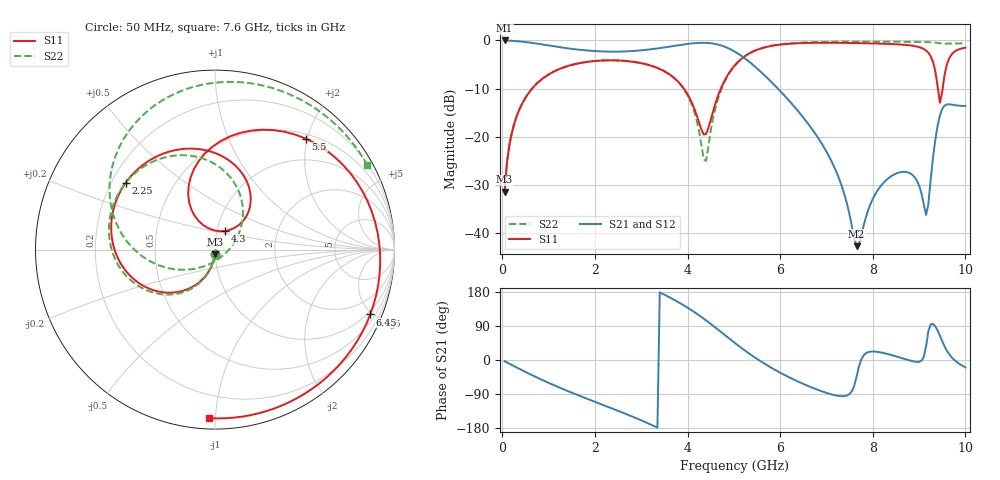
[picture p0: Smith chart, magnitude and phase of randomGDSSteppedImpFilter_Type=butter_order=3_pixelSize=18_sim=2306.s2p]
! freq	dB(S11)	phase(S11)	dB(S12)	phase(S12)
!  dB(S21)	phase(S21)	dB(S22)	phase(S22)
!S-par simulation data
#  GHz  S  DB  R 50
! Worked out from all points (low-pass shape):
!   200 points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, 50 MHz to 10 GHz, reference 50 ohm
!   highest |S21| = -0.01 dB at 50 MHz (marker M1); lowest = -42.6 dB at 7.65 GHz (marker M2)
!   |S21| within 3 dB of the highest: start of sweep to 5.133 GHz
!   lowest |S11| = -31.3 dB at 50 MHz (marker M3), VSWR 1.06, Z = 49.8 - j2.7 ohm
!   |S11| at or under -10 dB: start of sweep to 642.7 MHz; 3.922 GHz to 4.719 GHz (796.4 MHz wide, 18.4 % of centre); 9.407 GHz to 9.509 GHz (101.9 MHz wide, 1.08 % of centre)
!   |S22| runs from -31.3 to -0.3 dB; largest |S21 - S12| = 0
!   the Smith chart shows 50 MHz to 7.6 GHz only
!   S11 on the Smith chart (normalised r, x): 50 MHz: 1.00, -0.05; 2.25 GHz: 0.26, +0.31; 4.3 GHz: 1.10, +0.23; 5.5 GHz: 0.58, +1.98; 6.45 GHz: 0.81, -4.86; 7.6 GHz: 0.06, -0.96
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0.05  -31.33 -93.4  -0.01 -3.2  -0.01 -3.2  -31.32 -93.3
0.2  -19.40 -103.6  -0.07 -12.8  -0.07 -12.8  -19.40 -103.0
0.5  -11.89 -122.8  -0.34 -31.5  -0.34 -31.5  -11.88 -121.2
1.75  -4.57 168.0  -2.02 -98.4  -2.02 -98.4  -4.56 174.1
2.25  -4.13 143.1  -2.31 -122.2  -2.31 -122.2  -4.13 151.7
3.4  -5.91 81.8  -1.59 178.5  -1.59 178.5  -5.92 96.2
4  -11.15 48.2  -0.72 138.1  -0.72 138.1  -11.38 54.7
4.3  -18.51 61.2  -0.49 113.5  -0.49 113.5  -21.66 3.3
4.4  -19.40 92.3  -0.50 104.5  -0.50 104.5  -24.99 -71.8
5.05  -4.84 91.5  -2.49 42.2  -2.49 42.2  -4.95 165.6
5.5  -1.95 50.7  -5.79 2.8  -5.79 2.8  -1.95 129.6
6.45  -0.56 -22.7  -15.38 -60.4  -15.38 -60.4  -0.44 75.7
6.7  -0.50 -39.2  -18.53 -73.4  -18.53 -73.4  -0.36 64.5
7.6  -0.54 -92.2  -40.96 -67.8  -40.96 -67.8  -0.26 29.0
7.65  -0.55 -94.9  -42.64 -44.2  -42.64 -44.2  -0.26 27.2
8.35  -0.73 -133.3  -28.47 14.9  -28.47 14.9  -0.28 3.3
8.9  -1.16 -169.6  -28.30 -4.3  -28.30 -4.3  -0.31 -14.2
9.15  -2.09 162.2  -36.17 35.4  -36.17 35.4  -0.34 -22.1
9.35  -6.34 108.8  -20.64 88.9  -20.64 88.9  -0.45 -28.6
9.45  -12.91 19.1  -15.54 64.2  -15.54 64.2  -0.59 -31.3
9.65  -3.72 -119.7  -13.23 15.3  -13.23 15.3  -0.65 -35.6
10  -1.52 -169.6  -13.58 -19.6  -13.58 -19.6  -0.62 -45.0
